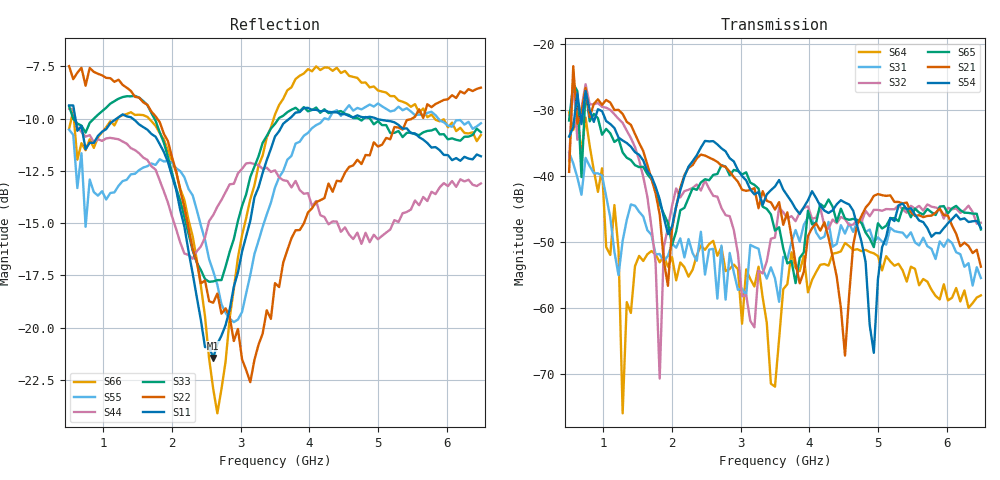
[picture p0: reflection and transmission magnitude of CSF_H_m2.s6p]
!Keysight Technologies,M9804A,MY58100912,A.14.10.03
!Date: Thursday, April 27, 2023 10:28:33
!Correction: S11(C  6-Port  )
!S12(C  6-Port  )
!S13(C  6-Port  )
!S14(C  6-Port  )
!S15(C  6-Port  )
!S16(C  6-Port  )
!S21(C  6-Port  )
!S22(C  6-Port  )
!S23(C  6-Port  )
!S24(C  6-Port  )
!S25(C  6-Port  )
!S26(C  6-Port  )
!S31(C  6-Port  )
!S32(C  6-Port  )
!S33(C  6-Port  )
!S34(C  6-Port  )
!S35(C  6-Port  )
!S36(C  6-Port  )
!S41(C  6-Port  )
!S42(C  6-Port  )
!S43(C  6-Port  )
!S44(C  6-Port  )
!S45(C  6-Port  )
!S46(C  6-Port  )
!S51(C  6-Port  )
!S52(C  6-Port  )
!S53(C  6-Port  )
!S54(C  6-Port  )
!S55(C  6-Port  )
!S56(C  6-Port  )
!S61(C  6-Port  )
!S62(C  6-Port  )
!S63(C  6-Port  )
!S64(C  6-Port  )
!S65(C  6-Port  )
!S66(C  6-Port  )
!S6P File: Measurement: :
# Hz S  RI  R 50
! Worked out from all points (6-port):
!   101 points, 500 MHz to 6.5 GHz, reference 50 ohm
!   strongest paths, dB at 500 MHz, 2 GHz, 3.5 GHz, 5 GHz, 6.5 GHz:
!     S54: -34.1, -47.7, -41.6, -55.7, -47.9
!     S21: -39.4, -48.1, -45.1, -42.8, -53.8
!     S65: -31.6, -50.5, -48.3, -47.2, -48.1
!     S32: -37.7, -44.6, -49.4, -45.2, -47.1
!     S31: -36.5, -50.3, -55.5, -49.3, -55.5
!     S64: -30.4, -52.3, -72.0, -52.2, -58.1
!   lowest |S11| = -21.5 dB at 2.6 GHz (marker M1), VSWR 1.18, Z = 42.5 + j2.17 ohm
!   |S11| at or under -10 dB: 591.2 MHz to 1.191 GHz (600 MHz wide, 67.3 % of centre); 1.427 GHz to 3.71 GHz (2.283 GHz wide, 88.9 % of centre); 4.977 GHz to end of sweep
